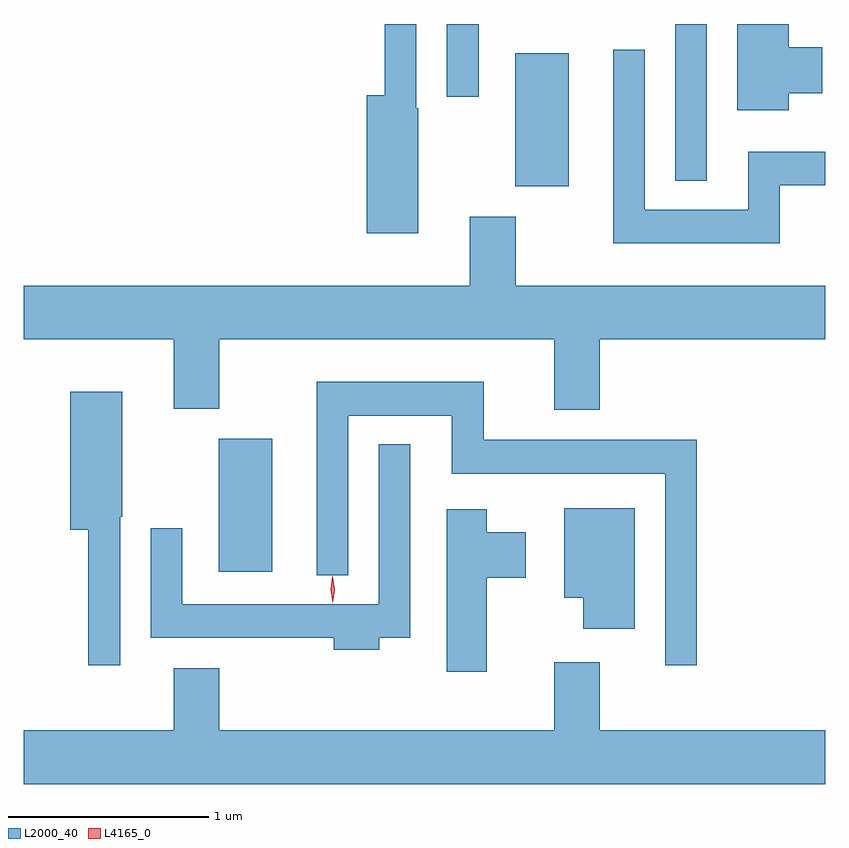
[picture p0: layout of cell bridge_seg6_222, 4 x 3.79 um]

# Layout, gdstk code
import gdstk
lib = gdstk.Library(unit=1e-6, precision=1e-09)
def R(c, l, rs):  # rectangles x0, y0, x1, y1
    for r in rs: c.add(gdstk.rectangle(r[:2], r[2:], *l))
def P(c, l, *ps):  # polygons
    for p in ps: c.add(gdstk.Polygon(p, *l))
L2000_40 = (2000, 40)
L4165_0 = (4165, 0)

bridge_seg6_222 = lib.new_cell('bridge_seg6_222')
R(bridge_seg6_222, L2000_40, [(1142.116,1562.196,1142.384,1562.859), (1143.596,1564.121,1143.864,1564.784), (1144.396,1564.148,1144.554,1564.931), (1143.256,1564.568,1143.414,1564.931)])
P(bridge_seg6_222, L2000_40, [(1143.114,1564.51),(1143.104,1564.51),(1143.104,1564.931),(1142.946,1564.931),(1142.946,1564.574),(1142.856,1564.574),(1142.856,1563.886),(1143.114,1563.886)],
  [(1144.964,1564.586),(1145.129,1564.586),(1145.129,1564.814),(1144.964,1564.814),(1144.964,1564.931),(1144.706,1564.931),(1144.706,1564.501),(1144.964,1564.501)],
  [(1144.919,1564.126),(1145.144,1564.126),(1145.144,1564.294),(1144.761,1564.294),(1144.761,1564.004),(1144.244,1564.004),(1144.244,1564.803),(1144.086,1564.803),(1144.086,1563.836),(1144.919,1563.836)],
  [(1144.019,1563.356),(1145.144,1563.356),(1145.144,1563.624),(1143.599,1563.624),(1143.599,1563.969),(1143.371,1563.969),(1143.371,1563.624),(1141.144,1563.624),(1141.144,1563.356),(1141.891,1563.356),(1141.891,1563.011),(1142.119,1563.011),(1142.119,1563.356),(1143.791,1563.356),(1143.791,1563.006),(1144.019,1563.006)],
  [(1144.504,1562.854),(1143.439,1562.854),(1143.439,1563.144),(1142.606,1563.144),(1142.606,1562.178),(1142.764,1562.178),(1142.764,1562.976),(1143.281,1562.976),(1143.281,1562.686),(1144.346,1562.686),(1144.346,1561.728),(1144.504,1561.728)],
  [(1141.624,1562.47),(1141.634,1562.47),(1141.634,1563.094),(1141.376,1563.094),(1141.376,1562.406),(1141.466,1562.406),(1141.466,1561.728),(1141.624,1561.728)],
  [(1142.919,1561.866),(1143.074,1561.866),(1143.074,1562.833),(1142.916,1562.833),(1142.916,1562.034),(1141.934,1562.034),(1141.934,1562.413),(1141.776,1562.413),(1141.776,1561.866),(1142.691,1561.866),(1142.691,1561.806),(1142.919,1561.806)],
  [(1144.194,1562.514),(1143.841,1562.514),(1143.841,1562.066),(1143.936,1562.066),(1143.936,1561.911),(1144.194,1561.911)],
  [(1143.454,1562.166),(1143.649,1562.166),(1143.649,1562.394),(1143.454,1562.394),(1143.454,1562.509),(1143.256,1562.509),(1143.256,1561.696),(1143.454,1561.696)],
  [(1145.144,1561.404),(1144.019,1561.404),(1144.019,1561.744),(1143.791,1561.744),(1143.791,1561.404),(1142.119,1561.404),(1142.119,1561.714),(1141.891,1561.714),(1141.891,1561.404),(1141.144,1561.404),(1141.144,1561.136),(1145.144,1561.136)])
P(bridge_seg6_222, L4165_0, [(1142.685,1562.04),(1142.685,1562.04),(1142.675,1562.106),(1142.684,1562.172),(1142.685,1562.173),(1142.685,1562.172),(1142.695,1562.106),(1142.686,1562.04)])

lib.write_gds('bridge_seg6_222.gds')
